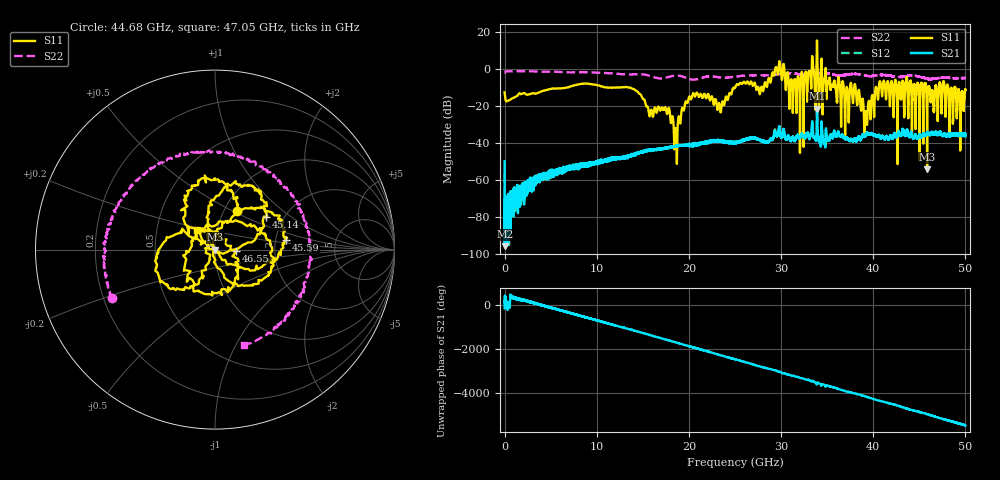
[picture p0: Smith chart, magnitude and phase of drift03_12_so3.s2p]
!Created with skrf (http://scikit-rf.org).
# Hz S RI R 50.0
!freq ReS11 ImS11 ReS21 ImS21 ReS12 ImS12 ReS22 ImS22
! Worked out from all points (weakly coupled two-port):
!   10001 points, 300 kHz to 50 GHz, reference 50 ohm
!   highest |S21| = -21.54 dB at 33.9 GHz (marker M1); lowest = -95.8 dB at 10.3 MHz (marker M2)
!   lowest |S11| = -54.3 dB at 45.85 GHz (marker M3), VSWR 1.00, Z = 50.2 + j0.0475 ohm
!   |S11| at or under -10 dB: start of sweep to 6.947 GHz; 13.32 GHz to 25.05 GHz (11.73 GHz wide, 61.2 % of centre); 38.07 GHz to 40.28 GHz (2.204 GHz wide, 5.62 % of centre) (the widest 3 of 60)
!   |S22| runs from -5.9 to -1.3 dB; largest |S21 - S12| = 0.0085
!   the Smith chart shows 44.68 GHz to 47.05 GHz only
!   S11 on the Smith chart (normalised r, x): 44.68 GHz: 1.15, +0.52; 45.14 GHz: 1.63, +0.66; 45.59 GHz: 2.29, +0.29; 46.55 GHz: 1.27, -0.01; 47.05 GHz: 0.80, +0.18
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300000  -0.2091 -0.0947  -0.00303 -0.000904  0.00138 0.000228  -0.7663 -0.1804
1.029994e7  -0.2116 0.0204  1.23e-05 1.05e-05  -9.95e-05 -7.98e-05  -0.7877 -0.00506
1.530291e9  0.2032 0.0456  9.3e-05 -0.000429  6.31e-05 -0.000522  0.8483 0.0845
3.160281e9  -0.2185 -0.00823  0.000122 0.00102  7.4e-05 0.000944  -0.8447 -0.0244
4.665272e9  0.2636 0.0611  0.000221 -0.00145  6.13e-05 -0.00133  0.8182 0.1414
6.360262e9  -0.2998 0.000759  0.000639 0.00183  0.000357 0.00167  -0.8043 -0.0404
8.33525e9  0.2835 -0.2676  -0.00226 -0.000936  -0.00244 -0.000767  0.6001 -0.5357
9.585242e9  -0.3713 -0.0403  0.00147 0.00231  0.0014 0.00252  -0.7864 -0.0778
1.123023e10  0.305 0.0324  -0.00232 -0.00291  -0.0024 -0.00257  0.756 0.0413
1.66702e10  0.0541 0.0759  0.00485 -0.00515  0.00456 -0.00489  -0.3543 0.4206
2.500015e10  -0.2974 -0.0473  0.00775 0.00644  0.00786 0.00656  -0.1884 -0.5835
3.33351e10  0.4229 -0.9837  -0.00595 0.024  -0.0057 0.0231  0.6138 0.3647
3.39001e10  1.38 -5.54  0.0755 0.0361  0.0692 0.0304  0.6709 -0.3325
4.167005e10  -0.2091 0.2827  -0.0116 -0.0049  -0.0116 -0.00469  -0.6505 -0.0504
4.323504e10  0.118 -0.3957  0.0217 0.00651  0.0216 0.00709  0.6131 -0.0267
4.468003e10  0.1215 0.2137  -0.0135 -0.00604  -0.0136 -0.00568  -0.5758 -0.271
4.513503e10  0.284 0.1801  -0.0133 0.00668  -0.0139 0.00718  -0.5555 0.209
4.559003e10  0.3963 0.054  -0.00283 0.016  -0.00258 0.0167  -0.1934 0.5266
4.584502e10  0.00187 0.000473  0.00999 0.0157  0.0104 0.0155  0.0994 0.5354
4.655002e10  0.1194 -0.00526  0.0148 -0.00739  0.0147 -0.00864  0.5257 -0.122
4.704502e10  -0.1004 0.1088  -0.00118 -0.0169  -0.00086 -0.0168  0.1624 -0.5339
5e10  -0.1555 -0.2265  0.000587 -0.0148  0.000545 -0.0157  0.4626 -0.3194
